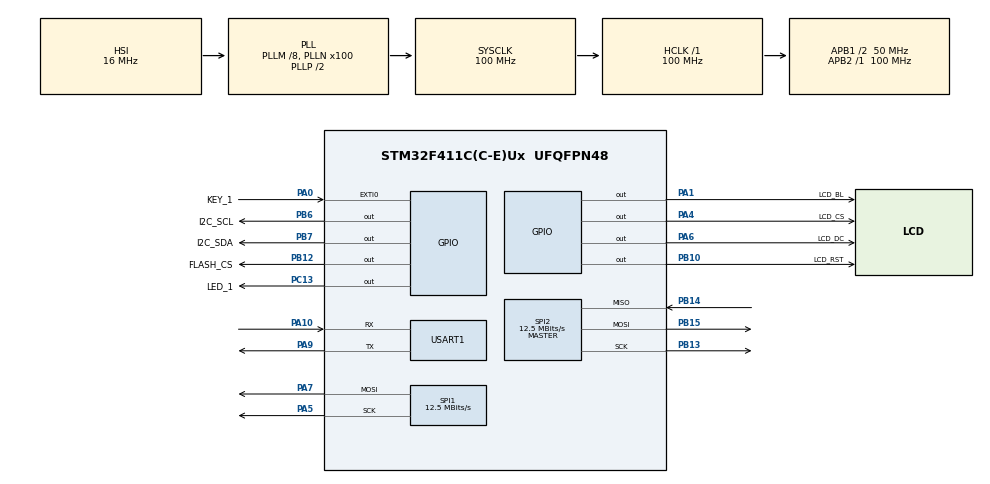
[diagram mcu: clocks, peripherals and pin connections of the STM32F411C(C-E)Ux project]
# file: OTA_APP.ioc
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Dma.Request0=USART1_RX
Dma.Request1=USART1_TX
Dma.USART1_RX.0.Direction=DMA_PERIPH_TO_MEMORY
Dma.USART1_RX.0.FIFOMode=DMA_FIFOMODE_DISABLE
Dma.USART1_RX.0.Instance=DMA2_Stream2
Dma.USART1_RX.0.MemDataAlignment=DMA_MDATAALIGN_BYTE
Dma.USART1_RX.0.MemInc=DMA_MINC_ENABLE
Dma.USART1_RX.0.Mode=DMA_CIRCULAR
Dma.USART1_RX.0.PeriphDataAlignment=DMA_PDATAALIGN_BYTE
Dma.USART1_RX.0.PeriphInc=DMA_PINC_DISABLE
Dma.USART1_RX.0.Priority=DMA_PRIORITY_MEDIUM
Dma.USART1_TX.1.Direction=DMA_MEMORY_TO_PERIPH
Dma.USART1_TX.1.FIFOMode=DMA_FIFOMODE_DISABLE
Dma.USART1_TX.1.Instance=DMA2_Stream7
Dma.USART1_TX.1.MemDataAlignment=DMA_MDATAALIGN_BYTE
Dma.USART1_TX.1.MemInc=DMA_MINC_ENABLE
Dma.USART1_TX.1.Mode=DMA_NORMAL
Dma.USART1_TX.1.PeriphDataAlignment=DMA_PDATAALIGN_BYTE
Dma.USART1_TX.1.PeriphInc=DMA_PINC_DISABLE
Dma.USART1_TX.1.Priority=DMA_PRIORITY_LOW
FREERTOS.Tasks01=defaultTask,24,128,StartDefaultTask,Default,NULL,Dynamic,NULL,NULL
Mcu.Family=STM32F4
Mcu.Name=STM32F411C(C-E)Ux
Mcu.Package=UFQFPN48
NVIC.DMA2_Stream2_IRQn=true\:5\:0\:false\:false\:true\:true\:false\:true\:true
NVIC.DMA2_Stream7_IRQn=true\:5\:0\:false\:false\:true\:true\:false\:true\:true
NVIC.EXTI0_IRQn=true\:5\:0\:true\:false\:true\:true\:true\:true\:true
NVIC.PriorityGroup=NVIC_PRIORITYGROUP_4
NVIC.TIM2_IRQn=true\:15\:0\:false\:false\:true\:false\:false\:true\:true
NVIC.TimeBase=TIM2_IRQn
NVIC.TimeBaseIP=TIM2
NVIC.USART1_IRQn=true\:5\:0\:false\:false\:true\:true\:true\:true\:true
PA0-WKUP.GPIO_Label=KEY_1
PA0-WKUP.GPIO_ModeDefaultEXTI=GPIO_MODE_IT_FALLING
PA0-WKUP.GPIO_PuPd=GPIO_PULLUP
PA0-WKUP.Signal=GPXTI0
PA1.GPIO_Label=LCD_BL
PA1.Signal=GPIO_Output
PA10.Mode=Asynchronous
PA10.Signal=USART1_RX
PA4.GPIO_Label=LCD_CS
PA4.GPIO_Speed=GPIO_SPEED_FREQ_HIGH
PA4.PinState=GPIO_PIN_SET
PA4.Signal=GPIO_Output
PA5.Mode=TX_Only_Simplex_Unidirect_Master
PA5.Signal=SPI1_SCK
PA6.GPIO_Label=LCD_DC
PA6.GPIO_Speed=GPIO_SPEED_FREQ_HIGH
PA6.PinState=GPIO_PIN_SET
PA6.Signal=GPIO_Output
PA7.Mode=TX_Only_Simplex_Unidirect_Master
PA7.Signal=SPI1_MOSI
PA9.Mode=Asynchronous
PA9.Signal=USART1_TX
PB10.GPIO_Label=LCD_RST
PB10.PinState=GPIO_PIN_SET
PB10.Signal=GPIO_Output
PB12.GPIO_Label=FLASH_CS
PB12.GPIO_Speed=GPIO_SPEED_FREQ_MEDIUM
PB12.PinState=GPIO_PIN_SET
PB12.Signal=GPIO_Output
PB13.Mode=Full_Duplex_Master
PB13.Signal=SPI2_SCK
PB14.Mode=Full_Duplex_Master
PB14.Signal=SPI2_MISO
PB15.Mode=Full_Duplex_Master
PB15.Signal=SPI2_MOSI
PB6.GPIO_Label=I2C_SCL
PB6.GPIO_ModeDefaultOutputPP=GPIO_MODE_OUTPUT_OD
PB6.GPIO_PuPd=GPIO_NOPULL
PB6.GPIO_Speed=GPIO_SPEED_FREQ_LOW
PB6.PinState=GPIO_PIN_SET
PB6.Signal=GPIO_Output
PB7.GPIO_Label=I2C_SDA
PB7.GPIO_ModeDefaultOutputPP=GPIO_MODE_OUTPUT_OD
PB7.GPIO_PuPd=GPIO_NOPULL
PB7.PinState=GPIO_PIN_SET
PB7.Signal=GPIO_Output
PC13-ANTI_TAMP.GPIO_Label=LED_1
PC13-ANTI_TAMP.Signal=GPIO_Output
PC14-OSC32_IN.Mode=LSE-External-Oscillator
PC14-OSC32_IN.Signal=RCC_OSC32_IN
PC15-OSC32_OUT.Mode=LSE-External-Oscillator
PC15-OSC32_OUT.Signal=RCC_OSC32_OUT
PH0\ -\ OSC_IN.Mode=HSE-External-Oscillator
PH0\ -\ OSC_IN.Signal=RCC_OSC_IN
PH1\ -\ OSC_OUT.Mode=HSE-External-Oscillator
PH1\ -\ OSC_OUT.Signal=RCC_OSC_OUT
ProjectManager.HeapSize=0x200
ProjectManager.StackSize=0x400
ProjectManager.TargetToolchain=MDK-ARM V5.32
RCC.48MHZClocksFreq_Value=50000000
RCC.AHBFreq_Value=100000000
RCC.APB1CLKDivider=RCC_HCLK_DIV2
RCC.APB1Freq_Value=50000000
RCC.APB1TimFreq_Value=100000000
RCC.APB2Freq_Value=100000000
RCC.APB2TimFreq_Value=100000000
RCC.CortexFreq_Value=100000000
RCC.HCLKFreq_Value=100000000
RCC.HSE_VALUE=25000000
RCC.HSI_VALUE=16000000
RCC.PLLM=8
RCC.PLLN=100
RCC.SYSCLKFreq_VALUE=100000000
RCC.SYSCLKSource=RCC_SYSCLKSOURCE_PLLCLK
RCC.VCOOutputFreq_Value=200000000
SPI1.BaudRatePrescaler=SPI_BAUDRATEPRESCALER_8
SPI1.CLKPhase=SPI_PHASE_2EDGE
SPI1.CLKPolarity=SPI_POLARITY_HIGH
SPI1.CalculateBaudRate=12.5 MBits/s
SPI1.Direction=SPI_DIRECTION_2LINES
SPI1.Mode=SPI_MODE_MASTER
SPI1.VirtualType=VM_MASTER
SPI2.BaudRatePrescaler=SPI_BAUDRATEPRESCALER_4
SPI2.CalculateBaudRate=12.5 MBits/s
SPI2.Direction=SPI_DIRECTION_2LINES
SPI2.Mode=SPI_MODE_MASTER
SPI2.VirtualType=VM_MASTER
USART1.VirtualMode=VM_ASYNC
VP_FREERTOS_VS_CMSIS_V2.Mode=CMSIS_V2
VP_SYS_VS_tim2.Mode=TIM2
board=custom

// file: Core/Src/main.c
/* USER CODE BEGIN Header */
/**
  ******************************************************************************
  * @file           : main.c
  * @brief          : Main program body
  ******************************************************************************
  * @attention
  *
  * Copyright (c) 2026 STMicroelectronics.
  * All rights reserved.
  *
  * This software is licensed under terms that can be found in the LICENSE file
  * in the root directory of this software component.
  * If no LICENSE file comes with this software, it is provided AS-IS.
  *
  ******************************************************************************
  */
/* USER CODE END Header */
#include "main.h"
#include "cmsis_os.h"
#include "dma.h"
#include "spi.h"
#include "usart.h"
#include "gpio.h"

/* USER CODE BEGIN Includes */
#include "cmbacktrace_port.h"
#include "diagnostics_fault.h"
#include "impl_platform_bsp_key.h"
#include "platform_watchdog.h"
#include "project_config.h"

/* USER CODE END Includes */

void SystemClock_Config(void);
void MX_FREERTOS_Init(void);

int main(void)
{

  /* MCU Configuration--------------------------------------------------------*/

  /* Reset of all peripherals, Initializes the Flash interface and the Systick. */
  HAL_Init();

  /* USER CODE BEGIN Init */
  if (platform_watchdog_start(PROJECT_WATCHDOG_TIMEOUT_MS) != PLATFORM_ERR_OK)
  {
    Error_Handler();
  }

  /* USER CODE END Init */

  /* Configure the system clock */
  SystemClock_Config();

  /* Initialize all configured peripherals */
  MX_GPIO_Init();
  MX_DMA_Init();
  MX_SPI1_Init();
  MX_USART1_UART_Init();
  MX_SPI2_Init();
  /* USER CODE BEGIN 2 */
  cmbacktrace_port_init();
  diagnostics_fault_init();
  if (platform_watchdog_feed() != PLATFORM_ERR_OK)
  {
    Error_Handler();
  }

  /* USER CODE END 2 */

  /* Init scheduler */
  osKernelInitialize();  /* Call init function for freertos objects (in freertos.c) */
  MX_FREERTOS_Init();
  if (platform_watchdog_feed() != PLATFORM_ERR_OK)
  {
    Error_Handler();
  }

  /* Start scheduler */
  osKernelStart();
  /* We should never get here as control is now taken by the scheduler */
  /* Infinite loop */
  while (1)
  {

  }
}

void SystemClock_Config(void)
{
  RCC_OscInitTypeDef RCC_OscInitStruct = {0};
  RCC_ClkInitTypeDef RCC_ClkInitStruct = {0};

  /** Configure the main internal regulator output voltage
  */
  __HAL_RCC_PWR_CLK_ENABLE();
  __HAL_PWR_VOLTAGESCALING_CONFIG(PWR_REGULATOR_VOLTAGE_SCALE1);

  /** Initializes the RCC Oscillators according to the specified parameters
  * in the RCC_OscInitTypeDef structure.
  */
  RCC_OscInitStruct.OscillatorType = RCC_OSCILLATORTYPE_HSI;
  RCC_OscInitStruct.HSIState = RCC_HSI_ON;
  RCC_OscInitStruct.HSICalibrationValue = RCC_HSICALIBRATION_DEFAULT;
  RCC_OscInitStruct.PLL.PLLState = RCC_PLL_ON;
  RCC_OscInitStruct.PLL.PLLSource = RCC_PLLSOURCE_HSI;
  RCC_OscInitStruct.PLL.PLLM = 8;
  RCC_OscInitStruct.PLL.PLLN = 100;
  RCC_OscInitStruct.PLL.PLLP = RCC_PLLP_DIV2;
  RCC_OscInitStruct.PLL.PLLQ = 4;
  if (HAL_RCC_OscConfig(&RCC_OscInitStruct) != HAL_OK)
  {
    Error_Handler();
  }

  /** Initializes the CPU, AHB and APB buses clocks
  */
  RCC_ClkInitStruct.ClockType = RCC_CLOCKTYPE_HCLK|RCC_CLOCKTYPE_SYSCLK
                              |RCC_CLOCKTYPE_PCLK1|RCC_CLOCKTYPE_PCLK2;
  RCC_ClkInitStruct.SYSCLKSource = RCC_SYSCLKSOURCE_PLLCLK;
  RCC_ClkInitStruct.AHBCLKDivider = RCC_SYSCLK_DIV1;
  RCC_ClkInitStruct.APB1CLKDivider = RCC_HCLK_DIV2;
  RCC_ClkInitStruct.APB2CLKDivider = RCC_HCLK_DIV1;

  if (HAL_RCC_ClockConfig(&RCC_ClkInitStruct, FLASH_LATENCY_3) != HAL_OK)
  {
    Error_Handler();
  }
}

/* USER CODE BEGIN 4 */

void HAL_GPIO_EXTI_Callback(uint16_t GPIO_Pin)
{
  impl_platform_bsp_key_exti_from_isr(GPIO_Pin);
}

/* USER CODE END 4 */

void HAL_TIM_PeriodElapsedCallback(TIM_HandleTypeDef *htim)
{
  if (htim->Instance == TIM2) {
    HAL_IncTick();
  }
}

void Error_Handler(void)
{
  __disable_irq();
  while (1)
  {
  }
}

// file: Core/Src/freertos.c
/* USER CODE BEGIN Header */
/**
  ******************************************************************************
  * File Name          : freertos.c
  * Description        : Code for freertos applications
  ******************************************************************************
  * @attention
  *
  * Copyright (c) 2026 STMicroelectronics.
  * All rights reserved.
  *
  * This software is licensed under terms that can be found in the LICENSE file
  * in the root directory of this software component.
  * If no LICENSE file comes with this software, it is provided AS-IS.
  *
  ******************************************************************************
  */
/* USER CODE END Header */

#include "FreeRTOS.h"
#include "task.h"
#include "main.h"
#include "cmsis_os.h"

/* USER CODE BEGIN Includes */
#include "app_system.h"
#include "service_log.h"

/* USER CODE END Includes */

/* Definitions for defaultTask */
osThreadId_t defaultTaskHandle;
const osThreadAttr_t defaultTask_attributes = {
  .name = "defaultTask",
  .stack_size = 4096,
  .priority = (osPriority_t) osPriorityNormal,
};

void StartDefaultTask(void *argument);

void MX_FREERTOS_Init(void); /* (MISRA C 2004 rule 8.1) */

void MX_FREERTOS_Init(void) {
  /* USER CODE BEGIN Init */
  if (service_log_init() != PLATFORM_ERR_OK) {
    Error_Handler();
  }

  /* USER CODE END Init */

  /* Create the thread(s) */
  /* creation of defaultTask */
  defaultTaskHandle = osThreadNew(StartDefaultTask, NULL, &defaultTask_attributes);

}

void StartDefaultTask(void *argument)
{
  /* USER CODE BEGIN StartDefaultTask */
  (void)argument;
  if (app_system_bootstrap() != PLATFORM_ERR_OK) {
    Error_Handler();
  }
  vTaskDelete(NULL);
  /* USER CODE END StartDefaultTask */
}
